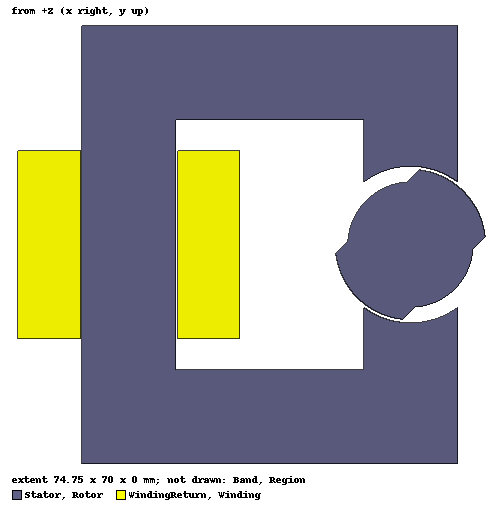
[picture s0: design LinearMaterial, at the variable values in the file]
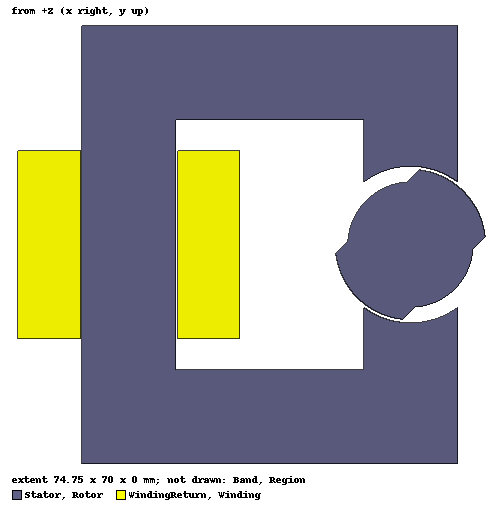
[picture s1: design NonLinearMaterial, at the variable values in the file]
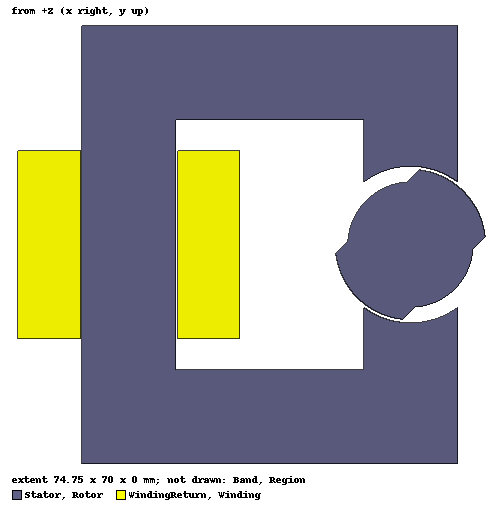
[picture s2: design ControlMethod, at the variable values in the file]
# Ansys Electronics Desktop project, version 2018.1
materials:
  vacuum: permittivity=1
  copper: permeability=0.999991 conductivity=58000000
  Taconic CER-10 (tm): permittivity=10 dielectric_loss_tangent=0.0035
  steel_1010_Linear: permittivity=1 permeability=902.6 conductivity=2000000 lande_g_factor=2
  steel_1010: permittivity=1 permeability{BType=normal HUnit=A_per_meter BUnit=tesla curve (0, 0) (238.7, 0.2003) (318.3, 0.3204) (358.1, 0.40045) (437.7, 0.50055) (477.5, 0.5606) (636.6, 0.7908) (795.8, 0.931) (1114.1, 1.1014) (1273.2, 1.2016) (1591.5, 1.302) (2228.2, 1.4028) (3183.1, 1.524) (4774.6, 1.626) (6366.2, 1.698) (7957.7, 1.73) (15915.5, 1.87) (31831, 1.99) (47746.5, 2.04) (63662, 2.07) (79577.5, 2.095) (159155, 2.2) (318310, 2.4)} conductivity=2000000 lande_g_factor=2

design Maxwell3DDesign1 (Maxwell 3D, Transient, model units mm)
options: ComputeTransientInductance Multiplier=1
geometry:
  Circle1 = circle(normal=Z, centre=(0mm, 0mm, 0mm), radius=12mm)
  Rotor [steel_1010] = circle(normal=Z, centre=(0mm, 0mm, 0mm), radius=10mm)
  Rectangle1 = rectangle(corner=(-7.5mm, -16mm, 0mm), x_size=15mm, y_size=32mm)
  Circle1.intersect(Rectangle1)
  Rotor.unite(Circle1)
  Rotor.rotate(axis=Z, angle=-45deg)
  Stator [steel_1010] = polyline(z=0mm, xy in mm: (-7.5, -2) (-7.5, -20) (-37.5, -20) (-37.5, 20) (-7.5, 20) (-7.5, 2) (7.5, 2) (7.5, 35) (-52.5, 35) (-52.5, -35) (7.5, -35) (7.5, -2) (-7.5, -2), closed, covered)
  Circle2 = circle(normal=Z, centre=(0mm, 0mm, 0mm), radius=12.5mm)
  Stator.subtract(Circle2)
  WindingReturn = rectangle(corner=(-37.25mm, -15mm, 0mm), x_size=10mm, y_size=30mm)
  Winding [copper] = rectangle(corner=(-62.75mm, -15mm, 0mm), x_size=10mm, y_size=30mm)
  Band [vacuum] = circle(normal=Z, centre=(0mm, 0mm, 0mm), radius=12.25mm)
  Region [vacuum] = region(percentage_offset: +X=50, -X=50, +Y=50, -Y=50, +Z=150, -Z=150)
  [Rotor, Stator, WindingReturn, Winding, Band].sweep_along_vector((0meter, 0meter, 20mm))
  Box1 = box(corner=(-27.25mm, 15mm, 20mm), size=(-35.5mm, -30mm, 10mm))
  Box1_1 = Box1.duplicate_along_line(step=(0mm, 0mm, -30mm), total=2)
  Box1.move(0mm, 0mm, 0.25mm)
  Box1_1.move(0mm, 0mm, -0.25mm)
  WindingReturn.move_faces(MoveAlongNormalFlag=true OffsetDistance=1mm FacesToMove=Winding.face(#258))
  Winding.move_faces(MoveAlongNormalFlag=true OffsetDistance=1mm FacesToMove=Winding.face(#276))
  WindingReturn.move_faces(MoveAlongNormalFlag=true OffsetDistance=1mm FacesToMove=Winding.face(#112))
  Winding.move_faces(MoveAlongNormalFlag=true OffsetDistance=1mm FacesToMove=Winding.face(#124))
  Band.move_faces(MoveAlongNormalFlag=true OffsetDistance=1mm FacesToMove=Band.face(#291, #141))
  Rectangle2 = rectangle(corner=(-27.25mm, -15mm, 10mm), x_size=-10mm, y_size=30mm)
  Winding.unite(WindingReturn, Box1_1, Box1)
  InnerBand [vacuum] = circle(normal=Z, centre=(0mm, 0mm, 0mm), radius=12mm)
  InnerBand.sweep_along_vector((0meter, 0meter, 20mm))
  InnerBand.move_faces(MoveAlongNormalFlag=true OffsetDistance=1mm FacesToMove=InnerBand.face(#585, #582))
  OuterBand [vacuum] = circle(normal=Z, centre=(0mm, 0mm, 0mm), radius=12.5mm)
  OuterBand.sweep_along_vector((0meter, 0meter, 20mm))
  OuterBand.move_faces(MoveAlongNormalFlag=true OffsetDistance=1mm FacesToMove=OuterBand.face(#597, #594))
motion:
  MotionSetup1: Band Move_Type=Rotate Coordinate_System=Global Axis=Z Is_Positive=true InitPos=0deg Angular_Velocity=0rpm Moment_of_Inertia=1.8672297e-07 Damping=0 Load_Torque=0NewtonMeter Objects=Band
  Moving1: Moving Objects=[Rotor, InnerBand]
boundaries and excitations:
  ZeroTangentialHField1: Zero Tangential H Field Faces=Region.face(all 6)
  Coil: Coil Terminal Objects=Rectangle2 Conductor_number=250 Winding=Winding1 Point_out_of_terminal=false
  Winding1: Winding Group Type=Current IsSolid=false Current=3A ParallelBranchesNum=1
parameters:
  Torque1: Torque Is_Virtual=true Coordinate_System=Global Axis=Z Is_Positive=true Objects=Band
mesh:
  CylindricalGap1: CylindricalGap Objects=Band
  Length1: LengthBased RefineInside Objects=[Rotor, Stator, Winding, Band, Rectangle2] MaxLength=5mm
  BandMesh: LengthBased RefineInside Objects=OuterBand MaxLength=2mm
  initial mesh: GlobalCurvilinear{Apply}
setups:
  Setup1: Transient NonlinearSolverResidual=1e-05 ScalarPotential="Second Order" TimeIntegrationMethod=-1 SmoothBHCurve StopTime=9.25ms TimeStep=0.05ms SweepSetupType=LinearStep StartValue=0 StopValue=86000000ns StepSize=86000000ns ExpressionCache{CacheItem{Title=L_Winding1_Winding1_1 Expression=L(Winding1,Winding1) TraceID=251 ReportType=3}} UsingNumSolveSteps=1 ConstantDelta=0.002s NumberSolveSteps=1
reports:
  Winding Plot 1: L(Winding1,Winding1) vs Moving1.Position-45deg on Setup1 : Transient; L(Winding,Winding) vs Moving1.Position-45deg
  Torque Plot 1: Moving1.Torque vs Time on Setup1 : Transient
  Torque Plot 2: Moving1.Torque vs Moving1.Position-45deg on Setup1 : Transient; Moving1.Torque vs Moving1.Position-45deg

design LinearMaterial (Maxwell 2D, Transient, XY geometry, model units mm)
options: ComputeTransientInductance ModelDepth=20mm Multiplier=1
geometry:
  Circle1 = circle(normal=Z, centre=(0mm, 0mm, 0mm), radius=12mm)
  Rotor [steel_1010_Linear] = circle(normal=Z, centre=(0mm, 0mm, 0mm), radius=10mm)
  Rectangle1 = rectangle(corner=(-7.5mm, -16mm, 0mm), x_size=15mm, y_size=32mm)
  Circle1.intersect(Rectangle1)
  Rotor.unite(Circle1)
  Rotor.rotate(axis=Z, angle=-45deg)
  Stator [steel_1010_Linear] = polyline(z=0mm, xy in mm: (-7.5, -2) (-7.5, -20) (-37.5, -20) (-37.5, 20) (-7.5, 20) (-7.5, 2) (7.5, 2) (7.5, 35) (-52.5, 35) (-52.5, -35) (7.5, -35) (7.5, -2) (-7.5, -2), closed, covered)
  Circle2 = circle(normal=Z, centre=(0mm, 0mm, 0mm), radius=12.5mm)
  Stator.subtract(Circle2)
  WindingReturn [copper] = rectangle(corner=(-37.25mm, -15mm, 0mm), x_size=10mm, y_size=30mm)
  Winding [copper] = rectangle(corner=(-62.75mm, -15mm, 0mm), x_size=10mm, y_size=30mm)
  Band [vacuum] = circle(normal=Z, centre=(0mm, 0mm, 0mm), radius=12.25mm)
  Region [vacuum] = region(percentage_offset: +X=100, -X=100, +Y=100, -Y=100, +Z=0, -Z=0)
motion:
  MotionSetup1: Band Move_Type=Rotate Coordinate_System=Global Axis=Z Is_Positive=true InitPos=0deg Angular_Velocity=0rpm Moment_of_Inertia=1.8672297e-07 Damping=0 Load_Torque=0NewtonMeter Objects=Band
  Moving1: Moving Objects=Rotor
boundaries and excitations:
  ZeroVectorPot: Vector Potential Edges=Region.edge(all 4) Value=0
  Coil: Coil Objects=Winding Conductor_number=250 Winding=Winding PolarityType=Positive
  Coil_Ret: Coil Objects=WindingReturn Conductor_number=250 Winding=Winding PolarityType=Positive
  Winding: Winding Group Type=Current IsSolid=false Current=3A ParallelBranchesNum=1
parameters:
  Torque: Torque Coordinate_System=Global Is_Positive=true Objects=Rotor
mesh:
  Length1: LengthBased RefineInside disabled Objects=[Rotor, Stator, WindingReturn, Winding] MaxLength=2mm
  initial mesh: MeshMethod=AnsoftTAU
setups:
  Setup1: Transient NonlinearSolverResidual=0.0001 SmoothBHCurve StopTime=9.3ms TimeStep=0.05ms SweepSetupType=LinearStep StartValue=0ns StopValue=9.3ms StepSize=0.05ms ExpressionCache{CacheItem{Title=Moving1_Torque1 Expression=Moving1.Torque TraceID=1205 ReportType=3}} UsingNumSolveSteps=1 ConstantDelta=0.002s NumberSolveSteps=1 InitialTimeStep=0.002s MinTimeStep=0.001s MaxTimeStep=0.003s TimeStepErrTolerance=0.0001
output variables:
  Position = Moving1.Position
  StoredEnergy_05LI2 = 0.5*L(Winding,Winding)*InputCurrent(Winding)*InputCurrent(Winding)*1000
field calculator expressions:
  TotalEnergy = Fundamental_Quantity(25) | EnterVolume(AllObjects) | VolumeValue | Integrate
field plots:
  B_Vector1: B over Rotor, Stator, WindingReturn, Winding, Band on Setup1 : Transient at Time=-1
  Mag_B1: B over Stator, Rotor on Setup1 : Transient at Time=-1
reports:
  Inductance vs Position: L(Winding,Winding) vs Moving1.Position-45deg on Setup1 : Transient
  Stored Energy vs Position by Energy Calculation: TotalEnergy/50*1e3, StoredEnergy_05LI2 vs Position-45deg on Setup1 : Transient [Time=all]
  Torque vs Position: Moving1.Torque vs Moving1.Position-45deg on Setup1 : Transient
   Plot 1: Moving1.Position-45deg vs Time on Setup1 : Transient; markers m1 at 2.35ms

design NonLinearMaterial (Maxwell 2D, Transient, XY geometry, model units mm)
options: ComputeTransientInductance ModelDepth=20mm Multiplier=1
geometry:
  Circle1 = circle(normal=Z, centre=(0mm, 0mm, 0mm), radius=12mm)
  Rotor [steel_1010] = circle(normal=Z, centre=(0mm, 0mm, 0mm), radius=10mm)
  Rectangle1 = rectangle(corner=(-7.5mm, -16mm, 0mm), x_size=15mm, y_size=32mm)
  Circle1.intersect(Rectangle1)
  Rotor.unite(Circle1)
  Rotor.rotate(axis=Z, angle=-45deg)
  Stator [steel_1010] = polyline(z=0mm, xy in mm: (-7.5, -2) (-7.5, -20) (-37.5, -20) (-37.5, 20) (-7.5, 20) (-7.5, 2) (7.5, 2) (7.5, 35) (-52.5, 35) (-52.5, -35) (7.5, -35) (7.5, -2) (-7.5, -2), closed, covered)
  Circle2 = circle(normal=Z, centre=(0mm, 0mm, 0mm), radius=12.5mm)
  Stator.subtract(Circle2)
  WindingReturn [copper] = rectangle(corner=(-37.25mm, -15mm, 0mm), x_size=10mm, y_size=30mm)
  Winding [copper] = rectangle(corner=(-62.75mm, -15mm, 0mm), x_size=10mm, y_size=30mm)
  Band [vacuum] = circle(normal=Z, centre=(0mm, 0mm, 0mm), radius=12.25mm)
  Region [vacuum] = region(percentage_offset: +X=100, -X=100, +Y=100, -Y=100, +Z=0, -Z=0)
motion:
  MotionSetup1: Band Move_Type=Rotate Coordinate_System=Global Axis=Z Is_Positive=true InitPos=0deg Angular_Velocity=0rpm Moment_of_Inertia=1.8672297e-07 Damping=0 Load_Torque=0NewtonMeter Objects=Band
  Moving1: Moving Objects=Rotor
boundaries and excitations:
  ZeroVectorPot: Vector Potential Edges=Region.edge(all 4) Value=0
  Coil: Coil Objects=Winding Conductor_number=250 Winding=Winding PolarityType=Positive
  Coil_Ret: Coil Objects=WindingReturn Conductor_number=250 Winding=Winding PolarityType=Positive
  Winding: Winding Group Type=Current IsSolid=false Current=3A ParallelBranchesNum=1
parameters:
  Torque: Torque Coordinate_System=Global Is_Positive=true Objects=Rotor
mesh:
  Length1: LengthBased RefineInside Objects=[Rotor, Stator, WindingReturn, Winding] MaxLength=5mm
  initial mesh: MeshMethod=AnsoftTAU
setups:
  Setup1: Transient NonlinearSolverResidual=0.0001 SmoothBHCurve StopTime=9.25ms TimeStep=0.05ms SweepSetupType=LinearStep StartValue=0ns StopValue=9.25ms StepSize=0.05ms ExpressionCache{CacheItem{Title=Moving1_Torque1 Expression=Moving1.Torque TraceID=1205 ReportType=3}} UsingNumSolveSteps=1 ConstantDelta=0.002s NumberSolveSteps=1 InitialTimeStep=0.002s MinTimeStep=0.001s MaxTimeStep=0.003s TimeStepErrTolerance=0.0001
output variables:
  Position = Moving1.Position
  StoredEnergy_05LI2 = 0.5*L(Winding,Winding)*InputCurrent(Winding)*InputCurrent(Winding)*1000
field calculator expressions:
  TotalEnergy = Fundamental_Quantity(25) | EnterVolume(AllObjects) | VolumeValue | Integrate
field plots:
  B_Vector1: B over Rotor, Stator, WindingReturn, Winding, Band on Setup1 : Transient at Time=-1
  Mag_B1: B over Stator, Rotor on Setup1 : Transient at Time=-1
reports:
  Inductance vs Position: L(Winding,Winding) vs Moving1.Position-45deg on Setup1 : Transient
  Stored Energy vs Position by Energy Calculation: TotalEnergy/50*1e3, StoredEnergy_05LI2 vs Position-45deg on Setup1 : Transient [Time=all]
  Torque vs Position: Moving1.Torque vs Moving1.Position-45deg on Setup1 : Transient

design ControlMethod (Maxwell 2D, Transient, XY geometry, model units mm)
options: ComputeTransientInductance ModelDepth=20mm Multiplier=1
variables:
  frequ = 500Hz
  t_per = 14ms
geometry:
  Circle1 = circle(normal=Z, centre=(0mm, 0mm, 0mm), radius=12mm)
  Rotor [steel_1010_Linear] = circle(normal=Z, centre=(0mm, 0mm, 0mm), radius=10mm)
  Rectangle1 = rectangle(corner=(-7.5mm, -16mm, 0mm), x_size=15mm, y_size=32mm)
  Circle1.intersect(Rectangle1)
  Rotor.unite(Circle1)
  Rotor.rotate(axis=Z, angle=-45deg)
  Stator [steel_1010_Linear] = polyline(z=0mm, xy in mm: (-7.5, -2) (-7.5, -20) (-37.5, -20) (-37.5, 20) (-7.5, 20) (-7.5, 2) (7.5, 2) (7.5, 35) (-52.5, 35) (-52.5, -35) (7.5, -35) (7.5, -2) (-7.5, -2), closed, covered)
  Circle2 = circle(normal=Z, centre=(0mm, 0mm, 0mm), radius=12.5mm)
  Stator.subtract(Circle2)
  WindingReturn [copper] = rectangle(corner=(-37.25mm, -15mm, 0mm), x_size=10mm, y_size=30mm)
  Winding [copper] = rectangle(corner=(-62.75mm, -15mm, 0mm), x_size=10mm, y_size=30mm)
  Band [vacuum] = circle(normal=Z, centre=(0mm, 0mm, 0mm), radius=12.25mm)
  Region [vacuum] = region(percentage_offset: +X=100, -X=100, +Y=100, -Y=100, +Z=0, -Z=0)
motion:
  MotionSetup1: Band Move_Type=Rotate Coordinate_System=Global Axis=Z Is_Positive=true InitPos=-44deg Angular_Velocity=0rpm Moment_of_Inertia=1.8672297e-07 Damping=0 Load_Torque=0NewtonMeter Objects=Band
  Moving1: Moving Objects=Rotor
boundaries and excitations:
  ZeroVectorPot: Vector Potential Edges=Region.edge(all 4) Value=0
  Coil: Coil Objects=Winding Conductor_number=250 Winding=Winding PolarityType=Positive
  Coil_Ret: Coil Objects=WindingReturn Conductor_number=250 Winding=Winding PolarityType=Positive
  Winding: Winding Group Type=Current IsSolid=false Current=if(mod(time,t_per)<t_per/2,3A,0) ParallelBranchesNum=1
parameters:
  Torque: Torque Coordinate_System=Global Is_Positive=true Objects=Rotor
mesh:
  Length1: LengthBased RefineInside disabled Objects=[Rotor, Stator, WindingReturn, Winding] MaxLength=2mm
  initial mesh: MeshMethod=AnsoftTAU
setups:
  Setup1: Transient NonlinearSolverResidual=0.0001 SmoothBHCurve StopTime=93ms TimeStep=0.2ms ExpressionCache{CacheItem{Title=Moving1_Torque1 Expression=Moving1.Torque TraceID=1205 ReportType=3}} UsingNumSolveSteps=1 ConstantDelta=0.002s NumberSolveSteps=1 InitialTimeStep=0.002s MinTimeStep=0.001s MaxTimeStep=0.003s TimeStepErrTolerance=0.0001
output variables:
  Position = Moving1.Position
  StoredEnergy_05LI2 = 0.5*L(Winding,Winding)*InputCurrent(Winding)*InputCurrent(Winding)*1000
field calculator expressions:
  TotalEnergy = Fundamental_Quantity(25) | EnterVolume(AllObjects) | VolumeValue | Integrate
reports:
  Position: Moving1.Position vs Time on Setup1 : Transient
  Applied Current: InputCurrent(Winding) vs Time on Setup1 : Transient
  Torque Plot 1: Moving1.Torque vs Time on Setup1 : Transient
